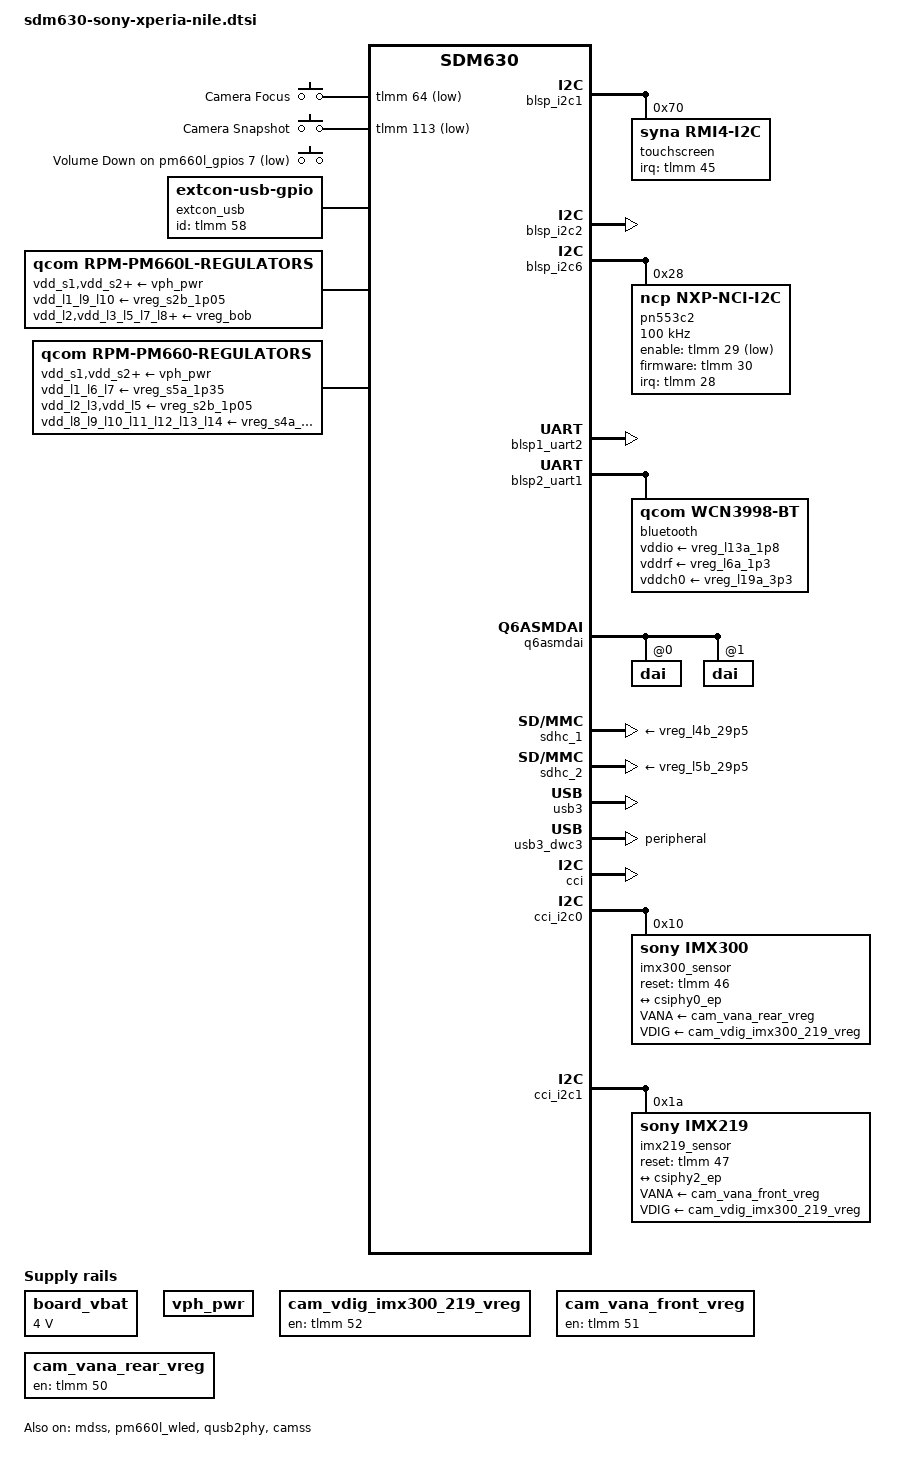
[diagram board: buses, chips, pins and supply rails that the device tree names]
// SPDX-License-Identifier: BSD-3-Clause
/*
 * Copyright (c) 2020, AngeloGioacchino Del Regno <kholk11@gmail.com>
 * Copyright (c) 2020, Konrad Dybcio <konradybcio@gmail.com>
 * Copyright (c) 2020, Martin Botka <martin.botka1@gmail.com>
 */

#include "pm660.dtsi"
#include "pm660l.dtsi"
#include <dt-bindings/gpio/gpio.h>
#include <dt-bindings/input/input.h>
#include <dt-bindings/input/gpio-keys.h>

/ {
	/* required for bootloader to select correct board */
	qcom,msm-id = <318 0>;
	qcom,board-id = <8 1>;
	qcom,pmic-id = <0x1001b 0x101011a 0x00 0x00 0x1001b 0x201011a 0x00 0x00>;

	chosen {
		#address-cells = <2>;
		#size-cells = <2>;
		ranges;
	};

	board_vbat: vbat-regulator {
		compatible = "regulator-fixed";
		regulator-name = "VBAT";

		regulator-min-microvolt = <4000000>;
		regulator-max-microvolt = <4000000>;
		regulator-always-on;
		regulator-boot-on;
	};

	vph_pwr: vph-pwr-regulator {
		compatible = "regulator-fixed";
		regulator-name = "vph_pwr";

		regulator-always-on;
		regulator-boot-on;
	};

	cam_vdig_imx300_219_vreg: cam_vdig_imx300_219_vreg {
		compatible = "regulator-fixed";
		regulator-name = "cam_vdig_imx300_219_vreg";
		startup-delay-us = <0>;
		enable-active-high;
		gpio = <&tlmm 52 GPIO_ACTIVE_HIGH>;
		pinctrl-names = "default";
		pinctrl-0 = <&cam_vdig_default>;
	};

	cam_vana_front_vreg: cam_vana_front_vreg {
		compatible = "regulator-fixed";
		regulator-name = "cam_vana_front_vreg";
		startup-delay-us = <0>;
		enable-active-high;
		gpio = <&tlmm 51 GPIO_ACTIVE_HIGH>;
		pinctrl-names = "default";
		pinctrl-0 = <&imx219_vana_default>;
	};

	cam_vana_rear_vreg: cam_vana_rear_vreg {
		compatible = "regulator-fixed";
		regulator-name = "cam_vana_rear_vreg";
		startup-delay-us = <0>;
		enable-active-high;
		gpio = <&tlmm 50 GPIO_ACTIVE_HIGH>;
		regulator-always-on;
		pinctrl-names = "default";
		pinctrl-0 = <&imx300_vana_default>;
	};

/*
	cam_vio_vreg: cam_vio_vreg {
		compatible = "regulator-fixed";
		regulator-name = "cam_vio_vreg";
		startup-delay-us = <0>;
		enable-active-high;
		gpio = <&tlmm 13 GPIO_ACTIVE_HIGH>;
	};
*/

	gpio_keys: gpio_keys {
		status = "okay";
		compatible = "gpio-keys";
		input-name = "gpio-keys";
		#address-cells = <1>;
		#size-cells = <0>;

		camera_focus {
			label = "Camera Focus";
			gpios = <&tlmm 64 GPIO_ACTIVE_LOW>;
			linux,input-type = <1>;
			linux,code = <KEY_CAMERA_FOCUS>;
			debounce-interval = <15>;
		};

		camera_snapshot {
			label = "Camera Snapshot";
			gpios = <&tlmm 113 GPIO_ACTIVE_LOW>;
			linux,input-type = <1>;
			linux,code = <KEY_CAMERA>;
			debounce-interval = <15>;
		};

		vol_down {
			label = "Volume Down";
			gpios = <&pm660l_gpios 7 GPIO_ACTIVE_LOW>;
			linux,input-type = <1>;
			linux,code = <KEY_VOLUMEDOWN>;
			gpio-key,wakeup;
			debounce-interval = <15>;
		};
	};

	reserved-memory {
		#address-cells = <2>;
		#size-cells = <2>;
		ranges;

		ramoops@ffc00000 {
			compatible = "ramoops";
			reg = <0x0 0xffc00000 0x0 0x100000>;
			record-size = <0x10000>;
			console-size = <0x60000>;
			ftrace-size = <0x10000>;
			pmsg-size = <0x20000>;
			ecc-size = <16>;
			status = "okay";
		};

		debug_region@ffb00000 {
			reg = <0x00 0xffb00000 0x00 0x100000>;
			no-map;
		};

		removed_region@85800000 {
			reg = <0x00 0x85800000 0x00 0x3700000>;
			no-map;
		};
	};

	/*
	 * Until we hook up type-c detection, we
	 * have to stick with this. But it works.
	 */
	extcon_usb: extcon-usb {
		compatible = "linux,extcon-usb-gpio";
		id-gpio = <&tlmm 58 GPIO_ACTIVE_HIGH>;
	};
};

&adsp_pil {
	firmware-name = "adsp.mdt";
};

&blsp_i2c1 {
	status = "okay";

	touchscreen: synaptics-rmi4-i2c@70 {
		compatible = "syna,rmi4-i2c";
		reg = <0x70>;
		#address-cells = <1>;
		#size-cells = <0>;
		interrupts-extended = <&tlmm 45 0x2008>;

		pinctrl-names = "default";
		pinctrl-0 = <&ts_int_active &ts_lcd_id_active>;

		syna,reset-delay-ms = <200>;
		syna,startup-delay-ms = <220>;

		rmi4-f01@1 {
			reg = <0x01>;
			syna,nosleep-mode = <1>;
		};

		rmi4-f11@11 {
			reg = <0x11>;
			syna,sensor-type = <1>;
		};
	};
};

&blsp_i2c2 {
	status = "okay";

	/* SMB1351 charger */
};

/* I2C3, 4, 5, 7 and 8 are disabled on this board. */

&blsp_i2c6 {
	status = "okay";

	pn553c2@28 {
		compatible = "ncp,nxp-nci-i2c";

		reg = <0x28>;
		clock-frequency = <100000>;

		interrupt-parent = <&tlmm>;
		interrupts = <28 IRQ_TYPE_LEVEL_HIGH>;

		enable-gpios = <&tlmm 29 GPIO_ACTIVE_LOW>;
		firmware-gpios = <&tlmm 30 GPIO_ACTIVE_HIGH>;

		/* TODO: Add support for clock gpio and bbclk clock */
	};
};

&blsp1_uart2 {
	status = "okay";
};

&blsp2_uart1 {
	status = "okay";

	bluetooth: wcn3990-bt {
		compatible = "qcom,wcn3998-bt";

		vddio-supply = <&vreg_l13a_1p8>;
		vddxo-suppky = <&vreg_l9a_1p8>;
		vddrf-supply = <&vreg_l6a_1p3>;
		vddch0-supply = <&vreg_l19a_3p3>;

		max-speed = <3200000>;

		clocks = <&rpmcc RPM_SMD_RF_CLK1_PIN>;
	};
};

&dsi0 {
	#address-cells = <1>;
	#size-cells = <0>;

	vdda-supply = <&vreg_l1a_1p225>;

	panel: panel@0 {
		reg = <0>;

		reset-gpios = <&tlmm 53 GPIO_ACTIVE_HIGH>;
		disp-te-gpios = <&tlmm 59 GPIO_ACTIVE_HIGH>;

		backlight = <&pm660l_wled>;

		pinctrl-names = "default";
		pinctrl-0 = <&panel_reset_n &mdp_vsync_n>;
		port {
			panel_in: endpoint {
				remote-endpoint = <&dsi0_out>;
			};
		};
	};
};

&dsi0_out {
	remote-endpoint = <&panel_in>;
	data-lanes = <0 1 2 3>;
};

&dsi0_phy {
	vcca-supply = <&vreg_l1b_0p925>;
};

&mdss {
	status = "okay";
};

&pm660l_wled {
	status = "okay";
	default-brightness = <512>;
};

&pon {
	volup {
		compatible = "qcom,pm8941-resin";
		interrupts = <0x0 0x8 1 IRQ_TYPE_EDGE_BOTH>;
		debounce = <15625>;
		bias-pull-up;
		linux,code = <KEY_VOLUMEUP>;
	};
};

&q6asmdai {
	dai@0 {
		reg = <0>;
	};

	dai@1 {
		reg = <1>;
	};
};

&qusb2phy {
	status = "okay";

	vdd-supply = <&vreg_l1b_0p925>;
	vdda-pll-supply = <&vreg_l10a_1p8>;
	vdda-phy-dpdm-supply = <&vreg_l7b_3p125>;
};

&rpm_requests {
	pm660l-regulators {
		compatible = "qcom,rpm-pm660l-regulators";

		vdd_s1-supply = <&vph_pwr>;
		vdd_s2-supply = <&vph_pwr>;
		vdd_s3_s4-supply = <&vph_pwr>;
		vdd_s5-supply = <&vph_pwr>;
		vdd_s6-supply = <&vph_pwr>;

		vdd_l1_l9_l10-supply = <&vreg_s2b_1p05>;
		vdd_l2-supply = <&vreg_bob>;
		vdd_l3_l5_l7_l8-supply = <&vreg_bob>;
		vdd_l4_l6-supply = <&vreg_bob>;
		vdd_bob-supply = <&vph_pwr>;

		vreg_s1b_1p125: s1 {
			regulator-min-microvolt = <1125000>;
			regulator-max-microvolt = <1125000>;
			regulator-enable-ramp-delay = <200>;
			regulator-ramp-delay = <0>;
		};

		vreg_s2b_1p05: s2 {
			regulator-min-microvolt = <1050000>;
			regulator-max-microvolt = <1050000>;
			regulator-enable-ramp-delay = <200>;
			regulator-ramp-delay = <0>;
		};

		/*
		 * At least on Nile's configuration, S3B/S4B (VDD_CX) and
		 * S5B (VDD_MX) are managed only through RPM Power Domains.
		 * Trying to set a voltage on the main supply will create
		 * havoc and freeze the SoC.
		 * In any case, reference voltages for these regulators are:
		 * S3B/S4B: 0.870V
		 * S5B: 0.915V
		 */

		/* LDOs */
		vreg_l1b_0p925: l1 {
			regulator-min-microvolt = <920000>;
			regulator-max-microvolt = <928000>;
			regulator-enable-ramp-delay = <250>;
			regulator-ramp-delay = <0>;
			regulator-allow-set-load;
		};

		vreg_l2b_2p95: l2 {
			/*
			 * This regulator supports 1.648 - 3.104V on this board
			 * but we set a max voltage of anything less than 2.7V
			 * to satisfy a condition in sdhci.c that will disable
			 * 3.3V SDHCI signaling, which happens to be not really
			 * supported on the Xperia Nile/Ganges platform.
			 */
			regulator-min-microvolt = <1648000>;
			regulator-max-microvolt = <2696000>;
			regulator-enable-ramp-delay = <250>;
			regulator-ramp-delay = <0>;
			regulator-allow-set-load;
		};

		vreg_l3b_3p0: l3 {
			regulator-min-microvolt = <2800000>;
			regulator-max-microvolt = <2800000>;
			regulator-enable-ramp-delay = <250>;
			regulator-ramp-delay = <0>;
			regulator-min-microamp = <200>;
			regulator-max-microamp = <600000>;
			regulator-system-load = <100000>;
			regulator-allow-set-load;
			/* regulator-always-on; */
		};

		vreg_l4b_29p5: l4 {
			regulator-min-microvolt = <2944000>;
			regulator-max-microvolt = <2952000>;
			regulator-enable-ramp-delay = <250>;
			regulator-ramp-delay = <0>;

			regulator-min-microamp = <200>;
			regulator-max-microamp = <600000>;
			regulator-system-load = <570000>;
			regulator-allow-set-load;
		};

		vreg_l5b_29p5: l5 {
			regulator-min-microvolt = <1720000>;
			regulator-max-microvolt = <3544000>;
			regulator-enable-ramp-delay = <250>;
			regulator-ramp-delay = <0>;
			regulator-allow-set-load;
		};

		vreg_l6b_3p3: l6 {
			regulator-min-microvolt = <1704000>;
			regulator-max-microvolt = <3312000>;
			regulator-enable-ramp-delay = <250>;
			regulator-ramp-delay = <0>;
		};

		vreg_l7b_3p125: l7 {
			regulator-min-microvolt = <2704000>;
			regulator-max-microvolt = <3128000>;
			regulator-enable-ramp-delay = <250>;
			regulator-ramp-delay = <0>;
		};

		vreg_l8b_3p3: l8 {
			regulator-min-microvolt = <2800000>;
			regulator-max-microvolt = <3400000>;
			regulator-enable-ramp-delay = <250>;
			regulator-ramp-delay = <0>;
		};

		vreg_l9b_0p87: l9 {
			/* Unused */
			status = "disabled";
		};

		vreg_l10b_0p915: l10 {
			/* Unused */
			status = "disabled";
		};

		vreg_bob: bob {
			regulator-min-microvolt = <3300000>;
			regulator-max-microvolt = <3600000>;
			regulator-enable-ramp-delay = <500>;
			regulator-ramp-delay = <0>;
		};
	};

	pm660-regulators {
		compatible = "qcom,rpm-pm660-regulators";

		vdd_s1-supply = <&vph_pwr>;
		vdd_s2-supply = <&vph_pwr>;
		vdd_s3-supply = <&vph_pwr>;
		vdd_s4-supply = <&vph_pwr>;
		vdd_s5-supply = <&vph_pwr>;
		vdd_s6-supply = <&vph_pwr>;

		vdd_l1_l6_l7-supply = <&vreg_s5a_1p35>;
		vdd_l2_l3-supply = <&vreg_s2b_1p05>;
		vdd_l5-supply = <&vreg_s2b_1p05>;
		vdd_l8_l9_l10_l11_l12_l13_l14-supply = <&vreg_s4a_2p04>;
		vdd_l15_l16_l17_l18_l19-supply = <&vreg_bob>;

		vreg_s1a_ftapc0: s1 {
			/* Unused */
			status = "disabled";
		};

		vreg_s2a_ftapc1: s2 {
			/* Unused */
			status = "disabled";
		};

		vreg_s3a_hfapc1: s3 {
			/* Unused */
			status = "disabled";
		};

		vreg_s4a_2p04: s4 {
			regulator-min-microvolt = <2040000>;
			regulator-max-microvolt = <2040000>;
			regulator-enable-ramp-delay = <200>;
			regulator-ramp-delay = <0>;
			regulator-always-on;
		};

		vreg_s5a_1p35: s5 {
			regulator-min-microvolt = <1224000>;
			regulator-max-microvolt = <1350000>;
			regulator-enable-ramp-delay = <200>;
			regulator-ramp-delay = <0>;
		};

		vreg_s6a_0p87: s6 {
			regulator-min-microvolt = <504000>;
			regulator-max-microvolt = <992000>;
			regulator-enable-ramp-delay = <150>;
			regulator-ramp-delay = <0>;
		};

		/* LDOs */
		vreg_l1a_1p225: l1 {
			regulator-min-microvolt = <1226000>;
			regulator-max-microvolt = <1250000>;
			regulator-enable-ramp-delay = <250>;
			regulator-ramp-delay = <0>;
			regulator-allow-set-load;
			/* regulator-always-on; */
		};

		vreg_l2a_1p0: l2 {
			regulator-min-microvolt = <944000>;
			regulator-max-microvolt = <1008000>;
			regulator-enable-ramp-delay = <250>;
			regulator-ramp-delay = <0>;
		};

		vreg_l3a_1p0: l3 {
			regulator-min-microvolt = <944000>;
			regulator-max-microvolt = <1008000>;
			regulator-enable-ramp-delay = <250>;
			regulator-ramp-delay = <0>;
		};

		vreg_l5a_0p848: l5 {
			regulator-min-microvolt = <800000>;
			regulator-max-microvolt = <952000>;
			regulator-enable-ramp-delay = <250>;
			regulator-ramp-delay = <0>;
		};

		vreg_l6a_1p3: l6 {
			regulator-min-microvolt = <1304000>;
			regulator-max-microvolt = <1368000>;
			regulator-allow-set-load;
			regulator-enable-ramp-delay = <250>;
			regulator-ramp-delay = <0>;
		};

		vreg_l7a_1p2: l7 {
			regulator-min-microvolt = <1200000>;
			regulator-max-microvolt = <1200000>;
			regulator-enable-ramp-delay = <250>;
			regulator-ramp-delay = <0>;
		};

		vreg_l8a_1p8: l8 {
			regulator-min-microvolt = <1800000>;
			regulator-max-microvolt = <1800000>;
			regulator-enable-ramp-delay = <250>;
			regulator-ramp-delay = <0>;
			regulator-system-load = <325000>;
			regulator-allow-set-load;
		};


		vreg_l9a_1p8: l9 {
			regulator-min-microvolt = <1804000>;
			regulator-max-microvolt = <1896000>;
			regulator-enable-ramp-delay = <250>;
			regulator-ramp-delay = <0>;
			regulator-allow-set-load;
		};

		vreg_l10a_1p8: l10 {
			regulator-min-microvolt = <1800000>;
			regulator-max-microvolt = <1944000>;
			regulator-enable-ramp-delay = <250>;
			regulator-ramp-delay = <0>;
			regulator-allow-set-load;
		};

		vreg_l11a_1p8: l11 {
			regulator-min-microvolt = <1784000>;
			regulator-max-microvolt = <1944000>;
			regulator-enable-ramp-delay = <250>;
			regulator-ramp-delay = <0>;
		};

		vreg_l12a_1p8: l12 {
			regulator-min-microvolt = <1800000>;
			regulator-max-microvolt = <1944000>;
			regulator-enable-ramp-delay = <250>;
			regulator-ramp-delay = <0>;
		};

		/* This gives power to the LPDDR4: never turn it off! */
		vreg_l13a_1p8: l13 {
			regulator-min-microvolt = <1800000>;
			regulator-max-microvolt = <1944000>;
			regulator-enable-ramp-delay = <250>;
			regulator-ramp-delay = <0>;
			regulator-boot-on;
			regulator-always-on;
		};

		vreg_l14a_1p8: l14 {
			regulator-min-microvolt = <1710000>;
			regulator-max-microvolt = <1904000>;
			regulator-enable-ramp-delay = <250>;
			regulator-ramp-delay = <0>;
		};

		vreg_l15a_1p8: l15 {
			regulator-min-microvolt = <1648000>;
			regulator-max-microvolt = <2952000>;
			regulator-enable-ramp-delay = <250>;
			regulator-ramp-delay = <0>;
		};

		vreg_l16a_2p7: l16 {
			/* Unused */
			status = "disabled";
		};

		vreg_l17a_1p8: l17 {
			regulator-min-microvolt = <1648000>;
			regulator-max-microvolt = <2952000>;
			regulator-enable-ramp-delay = <250>;
			regulator-ramp-delay = <0>;
		};

		vreg_l18a_1v8: l18 {
			regulator-min-microvolt = <1800000>;
			regulator-max-microvolt = <1800000>;
			regulator-enable-ramp-delay = <250>;
			regulator-ramp-delay = <10>;
			regulator-min-microamp = <200>;
			regulator-max-microamp = <50000>;
			regulator-system-load = <10000>;
			regulator-allow-set-load;
			/* regulator-always-on */
		};

		vreg_l19a_3p3: l19 {
			regulator-min-microvolt = <3312000>;
			regulator-max-microvolt = <3400000>;
			regulator-enable-ramp-delay = <250>;
			regulator-ramp-delay = <0>;
			regulator-allow-set-load;
		};
	};
};

&sdhc_1 {
	status = "okay";

	supports-cqe;

	/* SoMC Nile platform's eMMC doesn't support HS200 mode */
	mmc-ddr-1_8v;
	mmc-hs400-1_8v;
	mmc-hs400-enhanced-strobe;

	vmmc-supply = <&vreg_l4b_29p5>;
	vqmmc-supply = <&vreg_l8a_1p8>;
};

&sdhc_2 {
	status = "okay";

	vmmc-supply = <&vreg_l5b_29p5>;
	vqmmc-supply = <&vreg_l2b_2p95>;
};

&tlmm {
	gpio-reserved-ranges = <8 4>;

	sdm_mclk0_default: sdm-mclk0-active {
		pinmux {
			pins = "gpio32";
			function = "cam_mclk";
		};

		pinconf {
			pins = "gpio32";
			bias-disable;
			drive-strength = <2>;
		};
	};

	sdm_mclk1_default: sdm-mclk1-active {
		pinmux {
			pins = "gpio33";
			function = "cam_mclk";
		};

		pinconf {
			pins = "gpio33";
			bias-disable;
			drive-strength = <2>;
		};
	};

	sdm_mclk2_default: sdm-mclk2-active {
		pinmux {
			pins = "gpio35";
			function = "cam_mclk";
		};

		pinconf {
			pins = "gpio35";
			bias-disable;
			drive-strength = <2>;
		};
	};

	imx300_reset_default: imx300-rst-n {
		/* RESET */
		pinmux {
			pins = "gpio46";
			function = "gpio";
		};

		pinconf {
			pins = "gpio46";
			bias-disable;
			drive-strength = <2>;
		};
	};

	imx219_reset_default: imx219-rst-n {
		pinmux {
			pins = "gpio47";
			function = "gpio";
		};

		pinconf {
			pins = "gpio47";
			bias-disable;
			drive-strength = <2>;
		};
	};

	ts_int_active: ts-int-active {
		pins = "gpio45";
		drive-strength = <8>;
		bias-pull-up;
	};

	ts_lcd_id_active: ts-lcd-id-active {
		pins = "gpio56";
		drive-strength = <8>;
		bias-disable;
	};

	imx300_vana_default: imx300-vana-default {
		pinmux {
			pins = "gpio50";
			function = "gpio";
		};

		pinconf {
			pins = "gpio50";
			bias-disable;
			drive-strength = <2>;
		};
	};

	imx219_vana_default: imx219-vana-default {
		pinmux {
			pins = "gpio51";
			function = "gpio";
		};

		pinconf {
			pins = "gpio51";
			bias-disable;
			drive-strength = <2>;
		};
	};

	cam_vdig_default: cam-vdig-default {
		pinmux {
			pins = "gpio52";
			function = "gpio";
		};

		pinconf {
			pins = "gpio52";
			bias-disable;
			drive-strength = <2>;
		};
	};

	panel_reset_n: panel-rst-n {
		pinmux {
			pins = "gpio53";
			function = "gpio";
		};
		pinconf {
			pins = "gpio53";
			drive-strength = <8>;
			bias-disable;
		};
	};

	mdp_vsync_n: mdp-vsync-n {
		pinmux {
			pins = "gpio59";
			function = "mdp_vsync";
		};
		pinconf {
			pins = "gpio59";
			drive-strength = <2>;
			bias-pull-down;
		};
	};
};

&usb3 {
	status = "okay";
};

&usb3_dwc3 {
	dr_mode = "peripheral";
	extcon = <&extcon_usb>;
};

&camss {
	status = "okay";

	vdda-supply = <&vreg_l1a_1p225>;
	vdd_sec-supply = <&vreg_l1b_0p925>;

	ports {
		port@0 {
			reg = <0>;
			csiphy0_ep: endpoint {
				clock-lanes = <7>;
				data-lanes = <0 1 2 3>;

				remote-endpoint = <&imx300_ep>;
			};
		};

		port@2 {
			reg = <2>;
			csiphy2_ep: endpoint {
				clock-lanes = <7>;
				data-lanes = <0 1 2 3>;
				remote-endpoint = <&imx219_ep>;
			};
		};
	};
};

&cci {
	status = "okay";
};

&cci_i2c0 {
	status = "okay";

	imx300_sensor: imx300@10 {
		reg = <0x10>;

		compatible = "sony,imx300";

		VANA-supply = <&cam_vana_rear_vreg>;
		VDIG-supply = <&cam_vdig_imx300_219_vreg>;

		reset-gpios = <&tlmm 46 GPIO_ACTIVE_HIGH>;

		clocks = <&mmcc CAMSS_MCLK0_CLK>;

		assigned-clocks = <&mmcc CAMSS_MCLK0_CLK>;
		assigned-clock-rates = <24000000>;

		pinctrl-names = "default";
		pinctrl-0 = <&sdm_mclk0_default>, <&imx300_reset_default>;

		port {
			imx300_ep: endpoint {
				data-lanes = <0 1 2 3>;
				remote-endpoint = <&csiphy0_ep>;
				clock-noncontinuous;
				link-frequencies = /bits/ 64 <780000000 480000000>;
			};
		};
	};
};


&cci_i2c1 {
	status = "okay";

	/*
	 * IMX219 EEPROM is at 0x50.
	 * This platform supports 8MHz XCLK, even though it is
	 * currently configured for 24MHz.
	 */
	imx219_sensor: imx219@1a {
		compatible = "sony,imx219";
		reg = <0x1a>;

		VANA-supply = <&cam_vana_front_vreg>;
		VDIG-supply = <&cam_vdig_imx300_219_vreg>;

		reset-gpios = <&tlmm 47 GPIO_ACTIVE_HIGH>;

		clocks = <&mmcc CAMSS_MCLK1_CLK>;
		clock-names = "xclk";

		assigned-clocks = <&mmcc CAMSS_MCLK1_CLK>;
		assigned-clock-rates = <24000000>;

		pinctrl-names = "default";
		pinctrl-0 = <&sdm_mclk1_default>, <&imx219_reset_default>;

		port {
			imx219_ep: endpoint {
				data-lanes = <0 1 2 3>;
				remote-endpoint = <&csiphy2_ep>;
				clock-noncontinuous;
				link-frequencies = /bits/ 64 <702000000>;
			};
		};
	};
};


